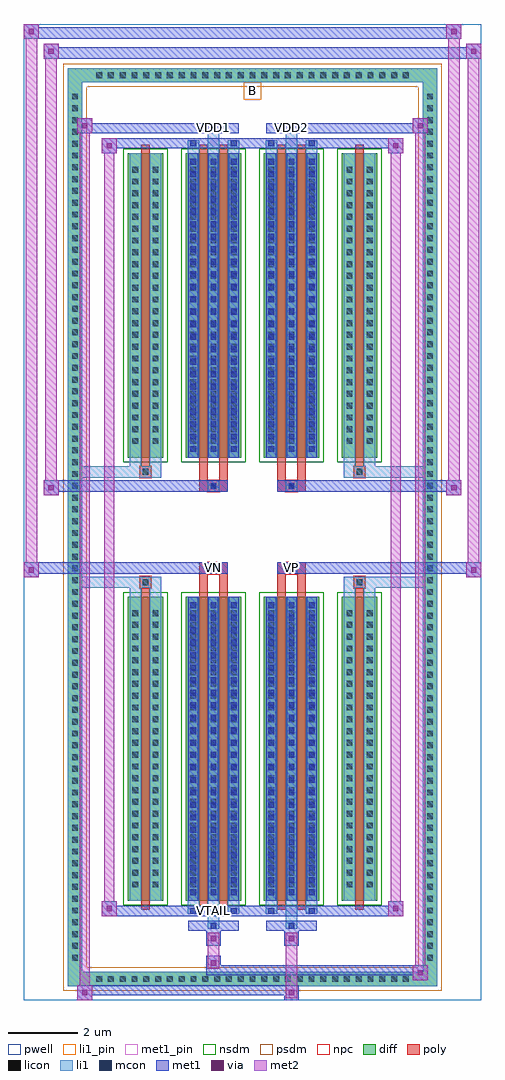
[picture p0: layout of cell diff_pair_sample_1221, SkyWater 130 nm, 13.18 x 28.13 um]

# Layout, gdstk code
import gdstk
lib = gdstk.Library(unit=1e-6, precision=5e-09)
def R(c, l, rs):  # rectangles x0, y0, x1, y1
    for r in rs: c.add(gdstk.rectangle(r[:2], r[2:], *l))
def A(c, l, x, y, w, h, nx, ny, dx, dy):  # array of equal rectangles
    R(c, l, [(x+i*dx, y+j*dy, x+i*dx+w, y+j*dy+h) for i in range(nx) for j in range(ny)])
def P(c, l, *ps):  # polygons
    for p in ps: c.add(gdstk.Polygon(p, *l))
pwell = (64, 44)
diff = (65, 20)
poly = (66, 20)
licon = (66, 44)
li1_pin = (67, 16)
li1 = (67, 20)
mcon = (67, 44)
met1_pin = (68, 16)
met1 = (68, 20)
via = (68, 44)
met2 = (69, 20)
nsdm = (93, 44)
psdm = (94, 20)
npc = (95, 20)

diff_pair_sample_1221 = lib.new_cell('diff_pair_sample_1221')
R(diff_pair_sample_1221, pwell, [(-6.59,-13.63,6.59,14.5), (-3.91,-11.82,-0.01,-0.82), (0.01,-11.82,3.91,-0.82), (-3.91,0.82,-0.01,11.82), (0.01,0.82,3.91,11.82)])
A(diff_pair_sample_1221, diff, -4.625, -13.23, 0.41, 0.41, 27, 2, 0.34, 26.05)
A(diff_pair_sample_1221, diff, -5.32, -12.615, 0.41, 0.41, 1, 74, 0, 0.34)
A(diff_pair_sample_1221, diff, 4.91, -12.615, 0.41, 0.41, 1, 74, 0, 0.34)
R(diff_pair_sample_1221, diff, [(-4.625,-13.23,4.625,-12.82), (-5.32,-12.615,-4.91,12.615), (4.91,-12.615,5.32,12.615), (-3.6,-10.775,-2.57,-2.005), (-1.93,-10.775,-0.32,-2.005), (0.32,-10.775,1.93,-2.005), (2.57,-10.775,3.6,-2.005), (-3.6,2.005,-2.57,10.775), (-1.93,2.005,-0.32,10.775), (0.32,2.005,1.93,10.775), (2.57,2.005,3.6,10.775), (-4.625,12.82,4.625,13.23)])
P(diff_pair_sample_1221, diff, [(5.32,13.23),(-5.32,13.23),(-5.32,-12.82),(-4.91,-12.82),(-4.91,12.82),(4.91,12.82),(4.91,-12.82),(-4.91,-12.82),(-5.32,-12.82),(-5.32,-13.23),(5.32,-13.23)])
R(diff_pair_sample_1221, poly, [(-3.21,-11.025,-2.96,-1.755), (-1.54,-11.025,-1.29,-1.755), (-0.96,-11.025,-0.71,-1.755), (0.71,-11.025,0.96,-1.755), (1.29,-11.025,1.54,-1.755), (2.96,-11.025,3.21,-1.755), (-3.25,-1.755,-2.92,-1.425), (-3.25,-1.755,-2.92,-1.425), (-1.54,-1.755,-1.29,-1.35), (-0.96,-1.755,-0.71,-1.35), (0.71,-1.755,0.96,-1.35), (1.29,-1.755,1.54,-1.35), (2.92,-1.755,3.25,-1.425), (2.92,-1.755,3.25,-1.425), (-1.54,-1.35,-0.71,-1.02), (-1.29,-1.35,-0.96,-1.02), (0.71,-1.35,1.54,-1.02), (0.96,-1.35,1.29,-1.02), (-1.54,1.02,-0.71,1.35), (-1.29,1.02,-0.96,1.35), (0.71,1.02,1.54,1.35), (0.96,1.02,1.29,1.35), (-1.54,1.35,-1.29,1.755), (-0.96,1.35,-0.71,1.755), (0.71,1.35,0.96,1.755), (1.29,1.35,1.54,1.755), (-3.25,1.425,-2.92,1.755), (-3.25,1.425,-2.92,1.755), (2.92,1.425,3.25,1.755), (2.92,1.425,3.25,1.755), (-3.21,1.755,-2.96,11.025), (-1.54,1.755,-1.29,11.025), (-0.96,1.755,-0.71,11.025), (0.71,1.755,0.96,11.025), (1.29,1.755,1.54,11.025), (2.96,1.755,3.21,11.025)])
A(diff_pair_sample_1221, licon, -4.505, -13.11, 0.17, 0.17, 27, 2, 0.34, 26.05)
A(diff_pair_sample_1221, licon, -5.2, -12.495, 0.17, 0.17, 1, 74, 0, 0.34)
A(diff_pair_sample_1221, licon, 5.03, -12.495, 0.17, 0.17, 1, 74, 0, 0.34)
A(diff_pair_sample_1221, licon, -3.46, -10.385, 0.17, 0.17, 1, 24, 0, 0.34)
A(diff_pair_sample_1221, licon, -2.88, -10.385, 0.17, 0.17, 1, 24, 0, 0.34)
A(diff_pair_sample_1221, licon, -1.79, -10.385, 0.17, 0.17, 3, 24, 0.58, 0.34)
A(diff_pair_sample_1221, licon, 0.46, -10.385, 0.17, 0.17, 3, 24, 0.58, 0.34)
A(diff_pair_sample_1221, licon, 2.71, -10.385, 0.17, 0.17, 1, 24, 0, 0.34)
A(diff_pair_sample_1221, licon, 3.29, -10.385, 0.17, 0.17, 1, 24, 0, 0.34)
A(diff_pair_sample_1221, licon, -3.46, 2.395, 0.17, 0.17, 1, 24, 0, 0.34)
A(diff_pair_sample_1221, licon, -2.88, 2.395, 0.17, 0.17, 1, 24, 0, 0.34)
A(diff_pair_sample_1221, licon, -1.79, 2.395, 0.17, 0.17, 3, 24, 0.58, 0.34)
A(diff_pair_sample_1221, licon, 0.46, 2.395, 0.17, 0.17, 3, 24, 0.58, 0.34)
A(diff_pair_sample_1221, licon, 2.71, 2.395, 0.17, 0.17, 1, 24, 0, 0.34)
A(diff_pair_sample_1221, licon, 3.29, 2.395, 0.17, 0.17, 1, 24, 0, 0.34)
R(diff_pair_sample_1221, licon, [(-3.17,-1.675,-3,-1.505), (3,-1.675,3.17,-1.505), (-1.21,-1.27,-1.04,-1.1), (1.04,-1.27,1.21,-1.1), (-1.21,1.1,-1.04,1.27), (1.04,1.1,1.21,1.27), (-3.17,1.505,-3,1.675), (3,1.505,3.17,1.675)])
R(diff_pair_sample_1221, li1_pin, [(-0.25,12.32,0.25,12.82)])
A(diff_pair_sample_1221, li1, -4.585, -13.19, 0.33, 0.33, 27, 2, 0.34, 26.05)
A(diff_pair_sample_1221, li1, -5.28, -12.575, 0.33, 0.33, 1, 74, 0, 0.34)
A(diff_pair_sample_1221, li1, 4.95, -12.575, 0.33, 0.33, 1, 74, 0, 0.34)
A(diff_pair_sample_1221, li1, -1.87, -10.775, 0.33, 8.77, 3, 2, 0.58, 12.78)
A(diff_pair_sample_1221, li1, 0.38, -10.775, 0.33, 8.77, 3, 2, 0.58, 12.78)
A(diff_pair_sample_1221, li1, -1.79, -10.615, 0.17, 0.17, 3, 24, 0.58, 0.36)
A(diff_pair_sample_1221, li1, -1.79, -10.615, 0.17, 8.45, 3, 2, 0.58, 12.78)
A(diff_pair_sample_1221, li1, 0.46, -10.615, 0.17, 0.17, 3, 24, 0.58, 0.36)
A(diff_pair_sample_1221, li1, 0.46, -10.615, 0.17, 8.45, 3, 2, 0.58, 12.78)
A(diff_pair_sample_1221, li1, -3.54, -10.465, 0.33, 0.33, 1, 24, 0, 0.34)
A(diff_pair_sample_1221, li1, -2.96, -10.465, 0.33, 0.33, 1, 24, 0, 0.34)
A(diff_pair_sample_1221, li1, -1.87, -10.465, 0.33, 0.33, 3, 24, 0.58, 0.34)
A(diff_pair_sample_1221, li1, 0.38, -10.465, 0.33, 0.33, 3, 24, 0.58, 0.34)
A(diff_pair_sample_1221, li1, 2.63, -10.465, 0.33, 0.33, 1, 24, 0, 0.34)
A(diff_pair_sample_1221, li1, 3.21, -10.465, 0.33, 0.33, 1, 24, 0, 0.34)
A(diff_pair_sample_1221, li1, -1.79, 2.165, 0.17, 0.17, 3, 24, 0.58, 0.36)
A(diff_pair_sample_1221, li1, 0.46, 2.165, 0.17, 0.17, 3, 24, 0.58, 0.36)
A(diff_pair_sample_1221, li1, -3.54, 2.315, 0.33, 0.33, 1, 24, 0, 0.34)
A(diff_pair_sample_1221, li1, -2.96, 2.315, 0.33, 0.33, 1, 24, 0, 0.34)
A(diff_pair_sample_1221, li1, -1.87, 2.315, 0.33, 0.33, 3, 24, 0.58, 0.34)
A(diff_pair_sample_1221, li1, 0.38, 2.315, 0.33, 0.33, 3, 24, 0.58, 0.34)
A(diff_pair_sample_1221, li1, 2.63, 2.315, 0.33, 0.33, 1, 24, 0, 0.34)
A(diff_pair_sample_1221, li1, 3.21, 2.315, 0.33, 0.33, 1, 24, 0, 0.34)
R(diff_pair_sample_1221, li1, [(-5.32,-13.23,-4.91,-12.82), (-5.32,-13.23,-4.91,-12.82), (-4.91,-13.23,4.91,-12.82), (4.91,-13.23,5.32,-12.82), (4.91,-13.23,5.32,-12.82), (-5.32,-12.82,-4.91,12.82), (4.91,-12.82,5.32,12.82), (-1.29,-11.58,-0.96,-10.775), (-1.21,-11.58,-1.04,-11.41), (0.96,-11.58,1.29,-10.775), (1.04,-11.58,1.21,-11.41), (-1.87,-11.15,-1.54,-10.775), (-1.79,-11.15,-1.62,-10.98), (-0.71,-11.15,-0.38,-10.775), (-0.63,-11.15,-0.46,-10.98), (0.38,-11.15,0.71,-10.775), (0.46,-11.15,0.63,-10.98), (1.54,-11.15,1.87,-10.775), (1.62,-11.15,1.79,-10.98), (-3.54,-10.775,-3.21,-2.005), (-2.96,-10.775,-2.63,-2.005), (2.63,-10.775,2.96,-2.005), (3.21,-10.775,3.54,-2.005), (-3.54,-2.005,-3.21,-1.425), (-2.96,-2.005,-2.63,-1.425), (2.63,-2.005,2.96,-1.425), (3.21,-2.005,3.54,-1.425), (-5.32,-1.755,-3.25,-1.425), (-3.54,-1.755,-3.25,-1.425), (-3.25,-1.755,-2.92,-1.425), (-2.92,-1.755,-2.63,-1.425), (2.63,-1.755,2.92,-1.425), (2.92,-1.755,3.25,-1.425), (2.92,-1.755,5.32,-1.425), (3.25,-1.755,3.54,-1.425), (-1.29,-1.35,-0.96,-1.02), (0.96,-1.35,1.29,-1.02), (-1.29,1.02,-0.96,1.35), (0.96,1.02,1.29,1.35), (-5.32,1.425,-3.25,1.755), (-3.54,1.425,-3.25,1.755), (-3.54,1.425,-3.21,2.005), (-3.25,1.425,-2.92,1.755), (-2.96,1.425,-2.63,2.005), (-2.92,1.425,-2.63,1.755), (2.63,1.425,2.92,1.755), (2.63,1.425,2.96,2.005), (2.92,1.425,3.25,1.755), (2.92,1.425,5.32,1.755), (3.21,1.425,3.54,2.005), (3.25,1.425,3.54,1.755), (-3.54,2.005,-3.21,10.775), (-2.96,2.005,-2.63,10.775), (2.63,2.005,2.96,10.775), (3.21,2.005,3.54,10.775), (-1.87,10.775,-1.54,11.15), (-1.29,10.775,-0.96,11.58), (-0.71,10.775,-0.38,11.15), (0.38,10.775,0.71,11.15), (0.96,10.775,1.29,11.58), (1.54,10.775,1.87,11.15), (-1.79,10.98,-1.62,11.15), (-0.63,10.98,-0.46,11.15), (0.46,10.98,0.63,11.15), (1.62,10.98,1.79,11.15), (-1.21,11.41,-1.04,11.58), (1.04,11.41,1.21,11.58), (-5.32,12.82,-4.91,13.23), (-5.32,12.82,-4.91,13.23), (-4.91,12.82,4.91,13.23), (4.91,12.82,5.32,13.23), (4.91,12.82,5.32,13.23)])
A(diff_pair_sample_1221, mcon, -1.79, -10.615, 0.17, 0.17, 3, 24, 0.58, 0.36)
A(diff_pair_sample_1221, mcon, 0.46, -10.615, 0.17, 0.17, 3, 24, 0.58, 0.36)
A(diff_pair_sample_1221, mcon, -1.79, 2.165, 0.17, 0.17, 3, 24, 0.58, 0.36)
A(diff_pair_sample_1221, mcon, 0.46, 2.165, 0.17, 0.17, 3, 24, 0.58, 0.36)
R(diff_pair_sample_1221, mcon, [(-1.21,-11.58,-1.04,-11.41), (1.04,-11.58,1.21,-11.41), (-1.79,-11.15,-1.62,-10.98), (-0.63,-11.15,-0.46,-10.98), (0.46,-11.15,0.63,-10.98), (1.62,-11.15,1.79,-10.98), (-1.21,-1.27,-1.04,-1.1), (1.04,-1.27,1.21,-1.1), (-1.21,1.1,-1.04,1.27), (1.04,1.1,1.21,1.27), (-1.79,10.98,-1.62,11.15), (-0.63,10.98,-0.46,11.15), (0.46,10.98,0.63,11.15), (1.62,10.98,1.79,11.15), (-1.21,11.41,-1.04,11.58), (1.04,11.41,1.21,11.58)])
R(diff_pair_sample_1221, met1_pin, [(-1.26,-11.19,-0.99,-10.92), (-1.26,-1.29,-0.99,-1.02), (0.99,-1.29,1.26,-1.02), (-1.26,11.37,-0.99,11.64), (0.99,11.37,1.26,11.64)])
A(diff_pair_sample_1221, met1, -1.85, -10.775, 0.29, 8.77, 3, 2, 0.58, 12.78)
A(diff_pair_sample_1221, met1, 0.4, -10.775, 0.29, 8.77, 3, 2, 0.58, 12.78)
A(diff_pair_sample_1221, met1, -1.85, -10.675, 0.29, 0.29, 3, 24, 0.58, 0.36)
A(diff_pair_sample_1221, met1, 0.4, -10.675, 0.29, 0.29, 3, 24, 0.58, 0.36)
A(diff_pair_sample_1221, met1, -1.85, 2.105, 0.29, 0.29, 3, 24, 0.58, 0.36)
A(diff_pair_sample_1221, met1, 0.4, 2.105, 0.29, 0.29, 3, 24, 0.58, 0.36)
R(diff_pair_sample_1221, met1, [(-5.05,-13.63,-4.62,-13.2), (0.91,-13.63,1.34,-13.2), (-5.05,-13.49,1.34,-13.2), (4.62,-13.06,5.05,-12.63), (-1.34,-12.92,5.05,-12.63), (-1.34,-12.78,-0.91,-12.35), (-1.34,-12.07,-0.91,-11.64), (0.91,-12.07,1.34,-11.64), (-1.85,-11.64,-0.4,-11.35), (-1.27,-11.64,-0.98,-11.35), (0.4,-11.64,1.85,-11.35), (0.98,-11.64,1.27,-11.35), (-4.34,-11.21,-3.91,-10.78), (-4.34,-11.21,-1.85,-10.92), (-1.85,-11.21,-1.56,-10.92), (-1.85,-11.21,-0.4,-10.92), (-0.69,-11.21,-0.4,-10.92), (-0.4,-11.21,0.4,-10.92), (0.4,-11.21,0.69,-10.92), (0.4,-11.21,1.85,-10.92), (1.56,-11.21,1.85,-10.92), (1.85,-11.21,4.34,-10.92), (3.91,-11.21,4.34,-10.78), (-6.59,-1.45,-6.16,-1.02), (6.16,-1.45,6.59,-1.02), (-6.59,-1.35,-0.71,-1.02), (-1.54,-1.35,-0.71,-1.02), (0.71,-1.35,1.54,-1.02), (0.71,-1.35,6.59,-1.02), (-1.27,-1.33,-0.98,-1.04), (0.98,-1.33,1.27,-1.04), (-6.02,0.92,-5.59,1.35), (5.59,0.92,6.02,1.35), (-6.02,1.02,-1.54,1.35), (-1.54,1.02,-0.71,1.35), (0.71,1.02,1.54,1.35), (1.54,1.02,6.02,1.35), (-1.27,1.04,-0.98,1.33), (0.98,1.04,1.27,1.33), (-4.34,10.78,-3.91,11.21), (3.91,10.78,4.34,11.21), (-4.34,10.92,-1.85,11.21), (-1.85,10.92,-1.56,11.21), (-1.85,10.92,-0.4,11.21), (-0.69,10.92,-0.4,11.21), (-0.4,10.92,0.4,11.21), (0.4,10.92,0.69,11.21), (0.4,10.92,1.85,11.21), (1.56,10.92,1.85,11.21), (1.85,10.92,4.34,11.21), (-5.05,11.35,-4.62,11.78), (-5.05,11.35,-1.85,11.64), (-1.85,11.35,-0.4,11.64), (-1.27,11.35,-0.98,11.64), (0.4,11.35,1.85,11.64), (0.98,11.35,1.27,11.64), (1.85,11.35,5.05,11.64), (4.62,11.35,5.05,11.78), (-6.02,13.5,-5.59,13.93), (-6.02,13.5,-3.91,13.83), (-3.91,13.5,3.91,13.83), (3.91,13.5,6.59,13.83), (6.16,13.5,6.59,13.93), (-6.59,14.07,-6.16,14.5), (-6.59,14.07,-3.91,14.4), (-3.91,14.07,3.91,14.4), (3.91,14.07,6.02,14.4), (5.59,14.07,6.02,14.5)])
R(diff_pair_sample_1221, via, [(-4.91,-13.49,-4.76,-13.34), (1.05,-13.49,1.2,-13.34), (4.76,-12.92,4.91,-12.77), (-1.2,-12.64,-1.05,-12.49), (-1.2,-11.93,-1.05,-11.78), (1.05,-11.93,1.2,-11.78), (-4.2,-11.07,-4.05,-10.92), (4.05,-11.07,4.2,-10.92), (-6.45,-1.31,-6.3,-1.16), (6.3,-1.31,6.45,-1.16), (-5.88,1.06,-5.73,1.21), (5.73,1.06,5.88,1.21), (-4.2,10.92,-4.05,11.07), (4.05,10.92,4.2,11.07), (-4.91,11.49,-4.76,11.64), (4.76,11.49,4.91,11.64), (-5.88,13.64,-5.73,13.79), (6.3,13.64,6.45,13.79), (-6.45,14.21,-6.3,14.36), (5.73,14.21,5.88,14.36)])
R(diff_pair_sample_1221, met2, [(-5.05,-13.63,-4.62,-13.2), (-4.98,-13.63,-4.69,11.78), (-4.69,-13.63,-4.62,-13.2), (-5,-13.58,-4.67,-13.25), (0.96,-13.58,1.29,-13.25), (0.96,-13.25,1.29,-12.02), (4.62,-13.06,5.05,-12.63), (4.69,-13.06,4.98,11.78), (4.98,-13.06,5.05,-12.63), (4.67,-13.01,5,-12.68), (-1.29,-12.73,-0.96,-12.4), (-1.29,-12.4,-0.96,-12.02), (-1.29,-12.02,-0.96,-11.69), (0.96,-12.02,1.29,-11.69), (-4.34,-11.21,-3.91,-10.78), (-4.27,-11.21,-3.98,11.21), (-3.98,-11.21,-3.91,-10.78), (3.91,-11.21,4.34,-10.78), (3.98,-11.21,4.27,11.21), (4.27,-11.21,4.34,-10.78), (-4.29,-11.16,-3.96,-10.83), (3.96,-11.16,4.29,-10.83), (-6.59,-1.45,-6.16,-1.02), (-6.54,-1.45,-6.21,14.5), (-6.21,-1.45,-6.16,-1.02), (6.16,-1.45,6.59,-1.02), (6.21,-1.45,6.54,13.93), (6.54,-1.45,6.59,-1.02), (-6.54,-1.4,-6.21,-1.07), (6.21,-1.4,6.54,-1.07), (-6.02,0.92,-5.59,1.35), (-5.97,0.92,-5.64,13.93), (-5.64,0.92,-5.59,1.35), (5.59,0.92,6.02,1.35), (5.64,0.92,5.97,14.5), (5.97,0.92,6.02,1.35), (-5.97,0.97,-5.64,1.3), (5.64,0.97,5.97,1.3), (-4.34,10.78,-3.91,11.21), (-3.98,10.78,-3.91,11.21), (3.91,10.78,4.34,11.21), (4.27,10.78,4.34,11.21), (-4.29,10.83,-3.96,11.16), (3.96,10.83,4.29,11.16), (-5.05,11.35,-4.62,11.78), (-4.69,11.35,-4.62,11.78), (4.62,11.35,5.05,11.78), (4.98,11.35,5.05,11.78), (-5,11.4,-4.67,11.73), (4.67,11.4,5,11.73), (-6.02,13.5,-5.59,13.93), (-5.64,13.5,-5.59,13.93), (6.16,13.5,6.59,13.93), (6.54,13.5,6.59,13.93), (-5.97,13.55,-5.64,13.88), (6.21,13.55,6.54,13.88), (-6.59,14.07,-6.16,14.5), (-6.21,14.07,-6.16,14.5), (5.59,14.07,6.02,14.5), (5.97,14.07,6.02,14.5), (-6.54,14.12,-6.21,14.45), (5.64,14.12,5.97,14.45)])
R(diff_pair_sample_1221, nsdm, [(-3.73,-10.905,-2.44,-1.875), (-2.06,-10.905,-0.19,-1.875), (0.19,-10.905,2.06,-1.875), (2.44,-10.905,3.73,-1.875), (-3.73,1.875,-2.44,10.905), (-2.06,1.875,-0.19,10.905), (0.19,1.875,2.06,10.905), (2.44,1.875,3.73,10.905)])
P(diff_pair_sample_1221, psdm, [(5.45,13.36),(-5.45,13.36),(-5.45,-12.69),(-4.78,-12.69),(-4.78,12.69),(4.78,12.69),(4.78,-12.69),(-4.78,-12.69),(-5.45,-12.69),(-5.45,-13.36),(5.45,-13.36)])
R(diff_pair_sample_1221, npc, [(-3.27,-1.775,-2.9,-1.405), (2.9,-1.775,3.27,-1.405), (-1.31,-1.37,-0.94,-1), (0.94,-1.37,1.31,-1), (-1.31,1,-0.94,1.37), (0.94,1,1.31,1.37), (-3.27,1.405,-2.9,1.775), (2.9,1.405,3.27,1.775)])
diff_pair_sample_1221.add(gdstk.Label('VTAIL', (-1.125,-11.055), layer=68, texttype=5))
diff_pair_sample_1221.add(gdstk.Label('VN', (-1.125,-1.155), layer=68, texttype=5))
diff_pair_sample_1221.add(gdstk.Label('VP', (1.125,-1.155), layer=68, texttype=5))
diff_pair_sample_1221.add(gdstk.Label('B', (0,12.57), layer=67, texttype=5))
diff_pair_sample_1221.add(gdstk.Label('VDD2', (1.125,11.505), layer=68, texttype=5))
diff_pair_sample_1221.add(gdstk.Label('VDD1', (-1.125,11.505), layer=68, texttype=5))

lib.write_gds('diff_pair_sample_1221.gds')
